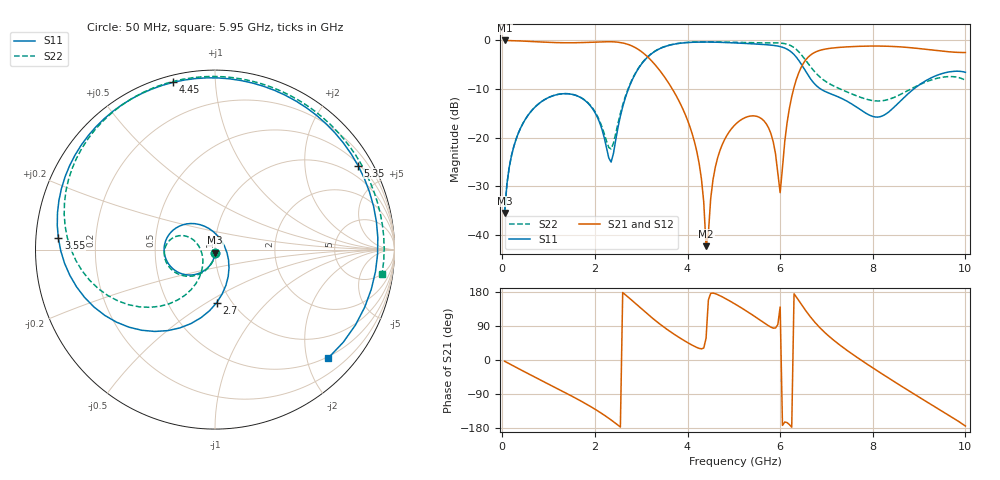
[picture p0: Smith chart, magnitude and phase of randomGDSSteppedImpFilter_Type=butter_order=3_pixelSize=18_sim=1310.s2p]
! freq	dB(S11)	phase(S11)	dB(S12)	phase(S12)
!  dB(S21)	phase(S21)	dB(S22)	phase(S22)
!S-par simulation data
#  GHz  S  DB  R 50
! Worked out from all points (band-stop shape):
!   200 points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, 50 MHz to 10 GHz, reference 50 ohm
!   highest |S21| = -0.02 dB at 50 MHz (marker M1); lowest = -42.3 dB at 4.4 GHz (marker M2)
!   |S21| within 3 dB of the highest: start of sweep to 3.096 GHz; 6.655 GHz to end of sweep
!   lowest |S11| = -35.5 dB at 50 MHz (marker M3), VSWR 1.03, Z = 50 - j1.69 ohm
!   |S11| at or under -10 dB: start of sweep to 2.724 GHz; 6.877 GHz to 8.883 GHz (2.007 GHz wide, 25.5 % of centre)
!   |S22| runs from -35.5 to -0.3 dB; largest |S21 - S12| = 0
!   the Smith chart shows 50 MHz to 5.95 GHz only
!   S11 on the Smith chart (normalised r, x): 50 MHz: 1.00, -0.03; 2.7 GHz: 0.85, -0.55; 3.55 GHz: 0.07, +0.04; 4.45 GHz: 0.03, +0.78; 5.35 GHz: 0.56, +3.60; 5.95 GHz: 0.47, -2.40
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0.05  -35.46 -88.2  -0.02 -3.3  -0.02 -3.3  -35.46 -88.0
0.55  -15.46 -126.3  -0.19 -35.5  -0.19 -35.5  -15.45 -124.2
1.75  -12.09 151.0  -0.45 -111.8  -0.45 -111.8  -12.04 166.0
2.35  -25.00 20.0  -0.28 -158.2  -0.28 -158.2  -22.31 -158.9
2.7  -10.59 -88.1  -0.79 167.8  -0.79 167.8  -10.36 -123.3
3.4  -1.71 -169.9  -6.18 95.1  -6.18 95.1  -1.67 175.5
3.55  -1.16 175.8  -8.16 81.5  -8.16 81.5  -1.12 162.6
4.2  -0.36 122.7  -22.82 33.1  -22.82 33.1  -0.33 114.1
4.4  -0.35 107.7  -42.27 57.4  -42.27 57.4  -0.30 100.5
4.45  -0.35 104.0  -39.63 158.3  -39.63 158.3  -0.30 97.2
4.65  -0.39 88.9  -24.12 172.6  -24.12 172.6  -0.33 84.0
5.05  -0.54 57.2  -17.11 145.9  -17.11 145.9  -0.42 57.6
5.35  -0.68 30.4  -15.55 123.1  -15.55 123.1  -0.49 37.4
5.95  -1.18 -44.0  -27.28 93.6  -27.28 93.6  -0.53 -8.1
6  -1.28 -52.7  -31.27 139.9  -31.27 139.9  -0.56 -12.7
6.2  -2.10 -94.3  -13.94 -170.4  -13.94 -170.4  -0.96 -32.8
6.4  -4.09 -147.9  -6.69 157.3  -6.69 157.3  -2.33 -54.1
6.7  -8.45 120.4  -2.72 106.7  -2.72 106.7  -5.94 -73.9
7.5  -12.80 -45.9  -1.31 20.5  -1.31 20.5  -10.82 -85.9
8.35  -14.66 153.3  -1.22 -48.3  -1.22 -48.3  -12.10 -82.4
9.1  -8.54 51.9  -1.79 -105.4  -1.79 -105.4  -8.72 -94.0
10  -6.56 -24.5  -2.50 -174.3  -2.50 -174.3  -8.24 -143.2
